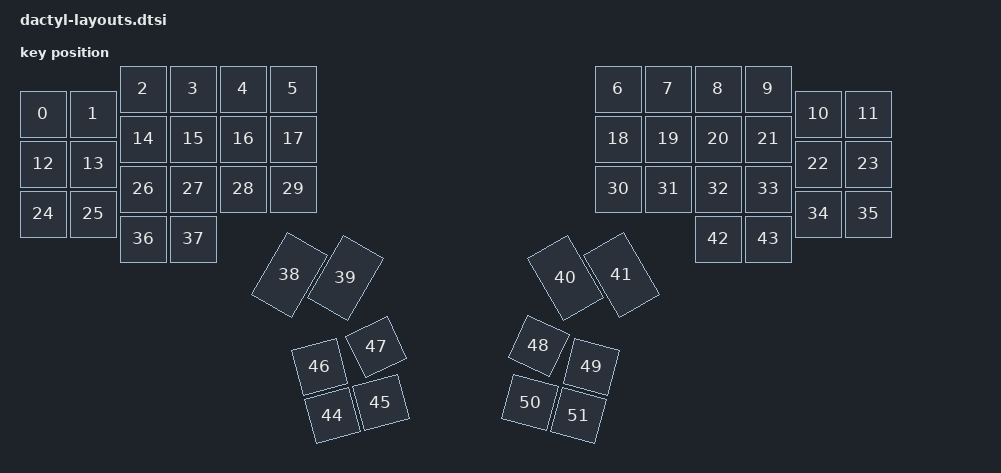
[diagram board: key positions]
#include <physical_layouts.dtsi>
/ {
    physical_layout0: physical_layout_0 {
        compatible = "zmk,physical-layout";
        display-name = "Default Layout";
        transform = <&default_transform>;
        kscan = <&kscan0>;
		// Layout converted from https://github.com/precondition/dactyl-manuform-keymap/
        keys  //                     w   h    x    y     rot    rx    ry
            = <&key_physical_attrs 100 100    0   50       0     0     0>
            , <&key_physical_attrs 100 100  100   50       0     0     0>
            , <&key_physical_attrs 100 100  200    0       0     0     0>
            , <&key_physical_attrs 100 100  300    0       0     0     0>
            , <&key_physical_attrs 100 100  400    0       0     0     0>
            , <&key_physical_attrs 100 100  500    0       0     0     0>
            , <&key_physical_attrs 100 100 1150    0       0     0     0>
            , <&key_physical_attrs 100 100 1250    0       0     0     0>
            , <&key_physical_attrs 100 100 1350    0       0     0     0>
            , <&key_physical_attrs 100 100 1450    0       0     0     0>
            , <&key_physical_attrs 100 100 1550   50       0     0     0>
            , <&key_physical_attrs 100 100 1650   50       0     0     0>
            , <&key_physical_attrs 100 100    0  150       0     0     0>
            , <&key_physical_attrs 100 100  100  150       0     0     0>
            , <&key_physical_attrs 100 100  200  100       0     0     0>
            , <&key_physical_attrs 100 100  300  100       0     0     0>
            , <&key_physical_attrs 100 100  400  100       0     0     0>
            , <&key_physical_attrs 100 100  500  100       0     0     0>
            , <&key_physical_attrs 100 100 1150  100       0     0     0>
            , <&key_physical_attrs 100 100 1250  100       0     0     0>
            , <&key_physical_attrs 100 100 1350  100       0     0     0>
            , <&key_physical_attrs 100 100 1450  100       0     0     0>
            , <&key_physical_attrs 100 100 1550  150       0     0     0>
            , <&key_physical_attrs 100 100 1650  150       0     0     0>
            , <&key_physical_attrs 100 100    0  250       0     0     0>
            , <&key_physical_attrs 100 100  100  250       0     0     0>
            , <&key_physical_attrs 100 100  200  200       0     0     0>
            , <&key_physical_attrs 100 100  300  200       0     0     0>
            , <&key_physical_attrs 100 100  400  200       0     0     0>
            , <&key_physical_attrs 100 100  500  200       0     0     0>
            , <&key_physical_attrs 100 100 1150  200       0     0     0>
            , <&key_physical_attrs 100 100 1250  200       0     0     0>
            , <&key_physical_attrs 100 100 1350  200       0     0     0>
            , <&key_physical_attrs 100 100 1450  200       0     0     0>
            , <&key_physical_attrs 100 100 1550  250       0     0     0>
            , <&key_physical_attrs 100 100 1650  250       0     0     0>
            , <&key_physical_attrs 100 100  200  300       0     0     0>
            , <&key_physical_attrs 100 100  300  300       0     0     0>
            , <&key_physical_attrs 100 150  550  335    3000   550   310>
            , <&key_physical_attrs 100 150  650  285    3000   550   310>
            , <&key_physical_attrs 100 150 1000  285 (-3000)  1200   310>
            , <&key_physical_attrs 100 150 1100  335 (-3000)  1200   310>
            , <&key_physical_attrs 100 100 1350  300       0     0     0>
            , <&key_physical_attrs 100 100 1450  300       0     0     0>
            , <&key_physical_attrs 100 100  900  285    7500   550   310>
            , <&key_physical_attrs 100 100  900  185    7500   550   310>
            , <&key_physical_attrs 100 100  800  285    7500   550   310>
            , <&key_physical_attrs 100 100 1250  920    6500  1325   310>
            , <&key_physical_attrs 100 100  925  110 (-6500)  1325   310>
            , <&key_physical_attrs 100 100  850  285 (-7500)  1200   310>
            , <&key_physical_attrs 100 100  750  185 (-7500)  1200   310>
            , <&key_physical_attrs 100 100  750  285 (-7500)  1200   310>
            ;
    };
	position_map {
        compatible = "zmk,physical-layout-position-map";
        complete; // Optional, see 'Example non-complete position map'
        layout1: layout1 {
            physical-layout = <&physical_layout0>;
            positions
                = < 0  1  2  3  4  5    6  7  8  9 10 11>
                , <12 13 14 15 16 17   18 19 20 21 22 23>
                , <24 25 26 27 28 29   30 31 32 33 34 35>
                , <      36 37 38 39   40 41 42 43      >
                , <      44 45 46 47   48 49 50 51      >;
        };

        // Additional layout child nodes
    };
};
